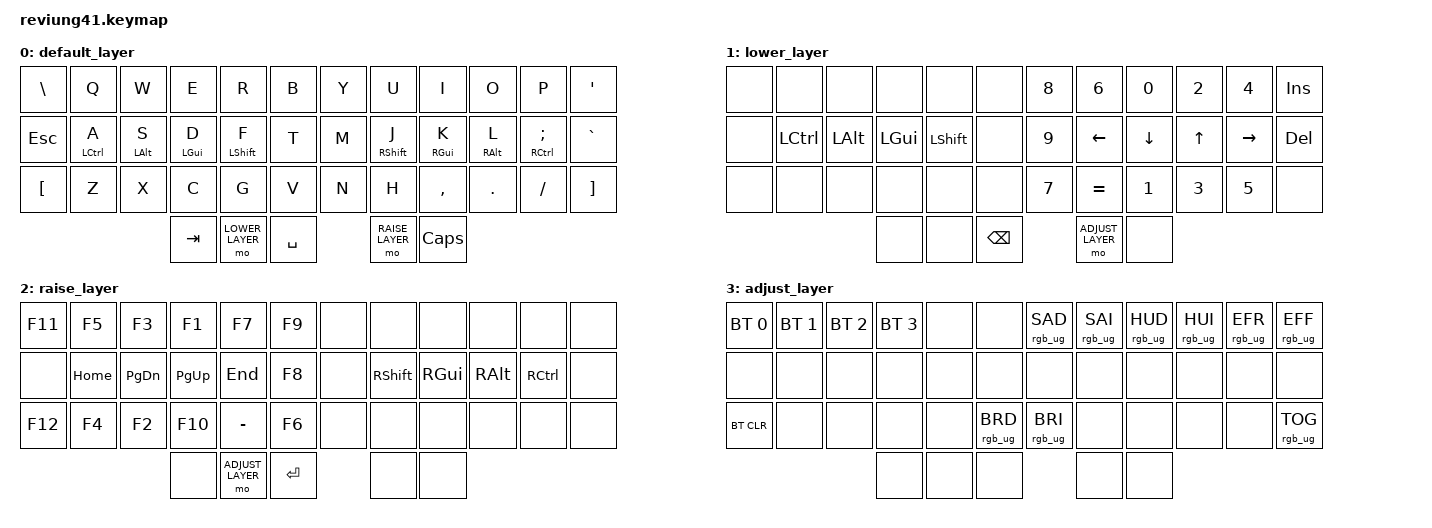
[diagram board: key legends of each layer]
/*
 * Copyright (c) 2020 The ZMK Contributors
 *
 * SPDX-License-Identifier: MIT
 */

#include <behaviors.dtsi>
#include <dt-bindings/zmk/keys.h>
#include <dt-bindings/zmk/bt.h>
#include <dt-bindings/zmk/rgb.h>


/*
 * Temporarily here because nice nano v2 spi is not defined on ZMk Yet
 * Source: https://github.com/zmkfirmware/zmk/blob/main/app/boards/shields/reviung41/boards/nice_nano.overlay
 * GitHub Issue: https://github.com/zmkfirmware/zmk/issues/885
 */
#include <dt-bindings/led/led.h>
&spi1 {
        compatible = "nordic,nrf-spim";
        status = "okay";
        mosi-pin = <6>;
        // Unused pins, needed for SPI definition, but not used by the ws2812 driver itself.
        sck-pin = <5>;
        miso-pin = <7>;

        led_strip: ws2812@0 {
            compatible = "worldsemi,ws2812-spi";
            label = "WS2812";

            /* SPI */
            reg = <0>; /* ignored, but necessary for SPI bindings */
            spi-max-frequency = <4000000>;

            /* WS2812 */
            chain-length = <11>; /* arbitrary; change at will */
            spi-one-frame = <0x70>;
            spi-zero-frame = <0x40>;
            color-mapping = <LED_COLOR_ID_GREEN LED_COLOR_ID_RED LED_COLOR_ID_BLUE>;
        };
};

/ {
        chosen {
            zmk,underglow = &led_strip;
        };
};

#define LOWER_LAYER 1
#define RAISE_LAYER 2
#define ADJUST_LAYER 3

/ {
        behaviors {
            hm: homerow_mods {
                compatible = "zmk,behavior-hold-tap";
                label = "HOMEROW_MODS";
                #binding-cells = <2>;
                tapping-term-ms = <150>;
                quick-tap-ms = <0>;
                flavor = "tap-preferred";
                bindings = <&kp>, <&kp>;
            };
        };

        keymap {
                compatible = "zmk,keymap";

                default_layer {
// --------------------------------------------------------------------------------------------------------------
// |  \|  |       Q  |     W  |     E  |      R  |  B  |---|  Y  |      U  |     I  |     O  |      P  |   '"   |
// | ESC  |  CTRL-A  | ALT-S  | GUI-D  | SHFT-F  |  T  |---|  M  | SHFT-J  | GUI-K  | ALT-L  | CTRL-;: |   `~   |
// |  [{  |       Z  |     X  |     C  |      G  |  V  |---|  N  |      H  |     ,< |     .> |      /? |   ]}   |
//                                       | TAB | LWR | SPACE | RSE  | CAPS |
                    bindings = <
   &kp BACKSLASH    &kp Q       &kp W      &kp E      &kp R       &kp B     &kp Y &kp U       &kp I      &kp O      &kp P          &kp SINGLE_QUOTE
   &kp ESC          &hm LCTRL A &hm LALT S &hm LGUI D &hm LSHFT F &kp T     &kp M &hm RSHFT J &hm RGUI K &hm RALT L &hm RCTRL SEMI &kp GRAVE
   &kp LEFT_BRACKET &kp Z       &kp X      &kp C      &kp G       &kp V     &kp N &kp H       &kp COMMA  &kp DOT    &kp SLASH      &kp RIGHT_BRACKET
                                         &kp TAB   &mo LOWER_LAYER   &kp SPACE   &mo RAISE_LAYER   &kp CAPS
                        >;
                };

                lower_layer {
// ----------------------------------------------------------------------------------------
// |     |      |     |     |      |     |---|  8  |  6    |  0    |  2  |  4     |  INS  |
// |     | CTRL | ALT | GUI | SHFT |     |---|  9  |  LEFT |  DOWN |  UP |  RIGHT |  DEL  |
// |     |      |     |     |      |     |---|  7  |  =+   |  1    |  3  |  5     |       |
//                         |     |     | BKSP | ADJ |     |
                        bindings = <
   &none  &none      &none     &none     &none      &none      &kp N8  &kp N6     &kp N0    &kp N2  &kp N4     &kp INS
   &none  &kp LCTRL  &kp LALT  &kp LGUI  &kp LSHFT  &none      &kp N9  &kp LEFT   &kp DOWN  &kp UP  &kp RIGHT  &kp DEL
   &none  &none      &none     &none     &none      &none      &kp N7  &kp EQUAL  &kp N1    &kp N3  &kp N5     &none
                                 &none      &none     &kp BACKSPACE     &mo ADJUST_LAYER       &none
                        >;
                };

                raise_layer {
// --------------------------------------------------------------------------------------
// |  F11 |  F5   |  F3   |  F1   |  F7  |  F9 |---|     |     |     |     |      |     |
// |      |  HOME |  PGDW |  PGUP |  END |  F8 |---|     | SHFT| GUI | ALT | CTRL |     |
// |  F12 |  F4   |  F2   |  F10  |  -_  |  F6 |---|     |     |     |     |      |     |
//                               |     | ADJ | RETURN |    |     |
                        bindings = <
   &kp F11  &kp F5    &kp F3     &kp F1     &kp F7     &kp F9        &none  &none      &none     &none     &none      &none
   &none    &kp HOME  &kp PG_DN  &kp PG_UP  &kp END    &kp F8        &none  &kp RSHFT  &kp RGUI  &kp RALT  &kp RCTRL  &none
   &kp F12  &kp F4    &kp F2     &kp F10    &kp MINUS  &kp F6        &none  &none      &none     &none     &none      &none
                         &none       &mo ADJUST_LAYER       &kp RETURN        &none      &none
                        >;
                };

                adjust_layer {
// ------------------------------------------------------------------------------------------------------------------------
// | BT1    | BT2  | BT3  | BT4   |       |          |---| RGB SAT- | RGB SAT+ | RGB HUE- | RGB HUE+ | RGB ANI- | RGB ANI+ |
// |        |      |      |       |       |          |---|          |          |          |          |          |          |
// | BT_CLR |      |      |       |       | RGB BRI- |---| RGB BRI+ |          |          |          |          | RGB TOG  |
//                                   |      |     |        |     |     |
                         bindings = <
   &bt BT_SEL 0 &bt BT_SEL 1 &bt BT_SEL 2 &bt BT_SEL 3 &none     &none              &rgb_ug RGB_SAD &rgb_ug RGB_SAI &rgb_ug RGB_HUD &rgb_ug RGB_HUI &rgb_ug RGB_EFR &rgb_ug RGB_EFF
   &none        &none        &none        &none        &none     &none              &none           &none           &none           &none           &none           &none
   &bt BT_CLR   &none        &none        &none        &none     &rgb_ug RGB_BRD    &rgb_ug RGB_BRI &none           &none           &none           &none           &rgb_ug RGB_TOG
                                                  &none     &none      &none       &none       &none
                        >;
                };
        };
};
